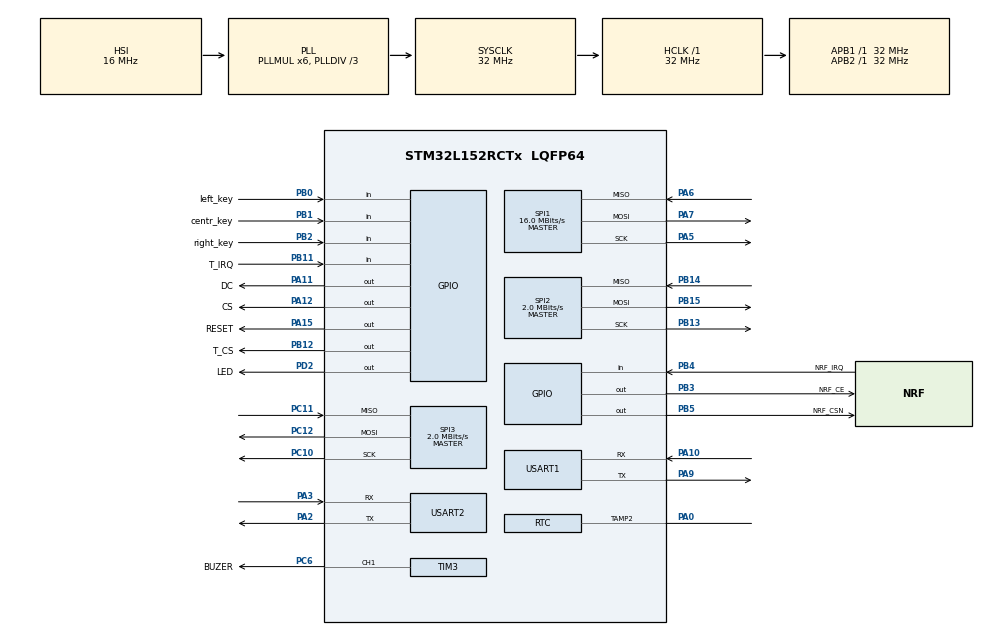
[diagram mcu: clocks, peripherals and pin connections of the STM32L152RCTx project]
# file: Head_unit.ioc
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Mcu.Family=STM32L1
Mcu.Name=STM32L152RCTx
Mcu.Package=LQFP64
NVIC.PriorityGroup=NVIC_PRIORITYGROUP_4
NVIC.TIM2_IRQn=true\:0\:0\:false\:false\:true\:true\:true\:true
PA0-WKUP1.Mode=Tamper 2 enabled - Input Enabled to TAMP2
PA0-WKUP1.Signal=RTC_TAMP2
PA10.Mode=Asynchronous
PA10.Signal=USART1_RX
PA11.GPIO_Label=DC
PA11.GPIO_Speed=GPIO_SPEED_FREQ_VERY_HIGH
PA11.Signal=GPIO_Output
PA12.GPIO_Label=CS
PA12.GPIO_Speed=GPIO_SPEED_FREQ_VERY_HIGH
PA12.Signal=GPIO_Output
PA13.Mode=Serial_Wire
PA13.Signal=SYS_JTMS-SWDIO
PA14.Mode=Serial_Wire
PA14.Signal=SYS_JTCK-SWCLK
PA15.GPIO_Label=RESET
PA15.GPIO_Speed=GPIO_SPEED_FREQ_VERY_HIGH
PA15.Signal=GPIO_Output
PA2.Mode=Asynchronous
PA2.Signal=USART2_TX
PA3.Mode=Asynchronous
PA3.Signal=USART2_RX
PA5.Mode=Full_Duplex_Master
PA5.Signal=SPI1_SCK
PA6.Mode=Full_Duplex_Master
PA6.Signal=SPI1_MISO
PA7.Mode=Full_Duplex_Master
PA7.Signal=SPI1_MOSI
PA9.Mode=Asynchronous
PA9.Signal=USART1_TX
PB0.GPIO_Label=left_key
PB0.GPIO_PuPd=GPIO_PULLUP
PB0.Signal=GPIO_Input
PB1.GPIO_Label=centr_key
PB1.GPIO_PuPd=GPIO_PULLUP
PB1.Signal=GPIO_Input
PB11.GPIO_Label=T_IRQ
PB11.Signal=GPIO_Input
PB12.GPIO_Label=T_CS
PB12.GPIO_Speed=GPIO_SPEED_FREQ_VERY_HIGH
PB12.Signal=GPIO_Output
PB13.Mode=Full_Duplex_Master
PB13.Signal=SPI2_SCK
PB14.Mode=Full_Duplex_Master
PB14.Signal=SPI2_MISO
PB15.Mode=Full_Duplex_Master
PB15.Signal=SPI2_MOSI
PB2.GPIO_Label=right_key
PB2.GPIO_PuPd=GPIO_PULLUP
PB2.Signal=GPIO_Input
PB3.GPIO_Label=NRF_CE
PB3.GPIO_Speed=GPIO_SPEED_FREQ_MEDIUM
PB3.Signal=GPIO_Output
PB4.GPIO_Label=NRF_IRQ
PB4.Signal=GPIO_Input
PB5.GPIO_Label=NRF_CSN
PB5.GPIO_Speed=GPIO_SPEED_FREQ_MEDIUM
PB5.Signal=GPIO_Output
PC10.Mode=Full_Duplex_Master
PC10.Signal=SPI3_SCK
PC11.Mode=Full_Duplex_Master
PC11.Signal=SPI3_MISO
PC12.Mode=Full_Duplex_Master
PC12.Signal=SPI3_MOSI
PC14-OSC32_IN.Mode=LSE-External-Oscillator
PC14-OSC32_IN.Signal=RCC_OSC32_IN
PC15-OSC32_OUT.Mode=LSE-External-Oscillator
PC15-OSC32_OUT.Signal=RCC_OSC32_OUT
PC6.GPIO_Label=BUZER
PC6.Signal=S_TIM3_CH1
PD2.GPIO_Label=LED
PD2.GPIO_Speed=GPIO_SPEED_FREQ_VERY_HIGH
PD2.Signal=GPIO_Output
ProjectManager.HeapSize=0x400
ProjectManager.StackSize=0x800
ProjectManager.TargetToolchain=STM32CubeIDE
RCC.48MHZClocksFreq_Value=48000000
RCC.AHBFreq_Value=32000000
RCC.APB1Freq_Value=32000000
RCC.APB1TimFreq_Value=32000000
RCC.APB2Freq_Value=32000000
RCC.APB2TimFreq_Value=32000000
RCC.HCLKFreq_Value=32000000
RCC.HSE_VALUE=24000000
RCC.HSI_VALUE=16000000
RCC.MSI_VALUE=2097000
RCC.PLLDIV=RCC_PLL_DIV3
RCC.PLLMUL=RCC_PLL_MUL6
RCC.SYSCLKFreq_VALUE=32000000
RCC.SYSCLKSource=RCC_SYSCLKSOURCE_PLLCLK
RCC.VCOOutputFreq_Value=96000000
RTC.Format=RTC_FORMAT_BIN
SH.S_TIM3_CH1.0=TIM3_CH1,PWM Generation1 CH1
SPI1.BaudRatePrescaler=SPI_BAUDRATEPRESCALER_2
SPI1.CalculateBaudRate=16.0 MBits/s
SPI1.Direction=SPI_DIRECTION_2LINES
SPI1.Mode=SPI_MODE_MASTER
SPI1.VirtualType=VM_MASTER
SPI2.BaudRatePrescaler=SPI_BAUDRATEPRESCALER_16
SPI2.CalculateBaudRate=2.0 MBits/s
SPI2.Direction=SPI_DIRECTION_2LINES
SPI2.Mode=SPI_MODE_MASTER
SPI2.VirtualType=VM_MASTER
SPI3.BaudRatePrescaler=SPI_BAUDRATEPRESCALER_16
SPI3.CalculateBaudRate=2.0 MBits/s
SPI3.Direction=SPI_DIRECTION_2LINES
SPI3.Mode=SPI_MODE_MASTER
SPI3.VirtualType=VM_MASTER
TIM2.Period=1000-1
TIM2.Prescaler=32000-1
TIM3.Channel-PWM\ Generation1\ CH1=TIM_CHANNEL_1
TIM3.Period=31999
TIM3.Prescaler=0
TIM3.Pulse-PWM\ Generation1\ CH1=16000
USART1.VirtualMode=VM_ASYNC
USART2.VirtualMode=VM_ASYNC
VP_RTC_VS_RTC_Activate.Mode=RTC_Enabled
VP_RTC_VS_RTC_Calendar.Mode=RTC_Calendar
VP_TIM2_VS_ClockSourceINT.Mode=Internal
VP_TIM3_VS_ClockSourceINT.Mode=Internal
board=custom

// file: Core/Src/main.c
/* USER CODE BEGIN Header */
/**
 ******************************************************************************
 * @file           : main.c
 * @brief          : Main program body
 ******************************************************************************
 * @attention
 *
 * Copyright (c) 2026 STMicroelectronics.
 * All rights reserved.
 *
 * This software is licensed under terms that can be found in the LICENSE file
 * in the root directory of this software component.
 * If no LICENSE file comes with this software, it is provided AS-IS.
 *
 ******************************************************************************
 */
/* USER CODE END Header */
#include "main.h"

/* USER CODE BEGIN Includes */
#include "string.h"
#include "stdio.h"
#include "ILI9341_GFX.h"
#include "fonts.h"
#include "xpt2046_touch.h"
#include "screen.h"
#include "nrf24.h"
#include "button.h"

/* USER CODE END Includes */

RTC_HandleTypeDef hrtc;

SPI_HandleTypeDef hspi1;
SPI_HandleTypeDef hspi2;
SPI_HandleTypeDef hspi3;

TIM_HandleTypeDef htim2;
TIM_HandleTypeDef htim3;

UART_HandleTypeDef huart1;
UART_HandleTypeDef huart2;

/* USER CODE BEGIN PV */
char str1[64] =
{ 0 };
volatile int g_timer_seconds = 0;				//Начальное значение таймера
uint8_t g_timer_settings_erudit = 10;			//Erudit timer from settings
volatile uint8_t reset_timer = 0;				//старт/стоп таймера
uint8_t timer_running = 0;   					//0 = стоп, 1 = работает
uint8_t btn_prev = 1;        					//предыдущее состояние кнопки
uint8_t question_id = 1;						//the current question index, for Erudit Quartet can be up to 5
char lcd_buf[16];								//буфер значения таймера
uint16_t teams = 2;								//номер команды
uint16_t teams_answer_state[8] =
{ 0 };											// Teams answer state
uint16_t teams_fs_state[8] =
{ 0 };											// Teams false start state
uint16_t pressed_btn_team = 0;					//номер нажатой кнопки команды
int16_t scores[8] = { 0 };						//количество очков команд [0-7]
uint16_t answer = 1;							//положительный или отрицательный ответ
uint8_t rx_data;								//номер нажатой кнопки передатчика
uint16_t falstart_enabled = 0;
uint8_t flag_press = 1;
uint32_t time_press = 0;
char buf[64] = { 0, };
uint16_t x = 0;
uint16_t y = 0;
enum {
	NONE = 0, SHORT = 1, LONG = 2
};

static volatile uint8_t  beep_active = 0;
static volatile uint32_t beep_start_tick = 0;
static volatile uint16_t beep_duration = 0;

game_screen screen = MAIN_MENU;
uint16_t edit_score = 0;						//Признак редактирования счёта...
/* USER CODE END PV */

void SystemClock_Config(void);
static void MX_GPIO_Init(void);
static void MX_RTC_Init(void);
static void MX_SPI1_Init(void);
static void MX_SPI2_Init(void);
static void MX_SPI3_Init(void);
static void MX_USART1_UART_Init(void);
static void MX_USART2_UART_Init(void);
static void MX_TIM2_Init(void);
static void MX_TIM3_Init(void);
/* USER CODE BEGIN PFP */

void Main_loop_header(void);
void Main_loop_footer(void);
// void Reset_state(void);
void Left_button_handler(void);
void Center_button_short_handler(void);
void Center_button_long_handler(void);
void Right_button_handler(void);

/* USER CODE END PFP */

/* USER CODE BEGIN 0 */

void Set_PWM_Frequency(uint32_t frequency) {
	uint32_t arr;
	arr = (32000000 / frequency) - 1;
	__HAL_TIM_SET_AUTORELOAD(&htim3, arr);
	__HAL_TIM_SET_COMPARE(&htim3, TIM_CHANNEL_1, (arr + 1) / 2);
}

static void beep_update(void) {
	if (beep_active && (HAL_GetTick() - beep_start_tick) >= beep_duration) {
		HAL_TIM_PWM_Stop(&htim3, TIM_CHANNEL_1);
		beep_active = 0;
	}
}

void beep(uint32_t frequency, uint16_t duration_ms) {
	if (beep_active) {
		HAL_TIM_PWM_Stop(&htim3, TIM_CHANNEL_1);
		beep_active = 0;
	}
	Set_PWM_Frequency(frequency);
	HAL_TIM_PWM_Start(&htim3, TIM_CHANNEL_1);
	beep_start_tick = HAL_GetTick();
	beep_duration = duration_ms;
	beep_active = 1;
}

/* USER CODE END 0 */

int main(void)
{

  /* USER CODE BEGIN 1 */
	edit_score = 0;

  /* USER CODE END 1 */

  /* MCU Configuration--------------------------------------------------------*/

  /* Reset of all peripherals, Initializes the Flash interface and the Systick. */
  HAL_Init();

  /* Configure the system clock */
  SystemClock_Config();

  /* Initialize all configured peripherals */
  MX_GPIO_Init();
  MX_RTC_Init();
  MX_SPI1_Init();
  MX_SPI2_Init();
  MX_SPI3_Init();
  MX_USART1_UART_Init();
  MX_USART2_UART_Init();
  MX_TIM2_Init();
  MX_TIM3_Init();
  //HAL_TIM_PWM_Start(&htim3, TIM_CHANNEL_1);
  /* USER CODE BEGIN 2 */
	__HAL_SPI_ENABLE(DISP_SPI_PTR);
	HAL_TIM_Base_Start_IT(&htim2);							//старт таймера обратного отсчёта
	HAL_TIM_Base_Start(&htim3);									//Таймер для микросекундных задержек
	ILI9341_Init();															//инициализация дисплея
	NRF24_ini();																//инициализация NRF24
	ILI9341_Set_Rotation(SCREEN_HORIZONTAL_2);	//установка ориентации экрана (варианты в файле ILI9341_GFX.h)
	screen_menu();															//старт глвного экрана
  /* USER CODE END 2 */

  /* Infinite loop */
	while (1)
	{

    /* USER CODE BEGIN 3 */

		Main_loop_header();
		NRF_Event_handler(); 										//Обработчик сигналов с кнопок передатчиков
		Touchscreen_handler();										//Обработчик тачскрина
		Main_loop_footer();											//Обработчик
		beep_update();												//check the current beep state

		//>>>>>>>>>>Обработчик нажатия кнопок. Для каждого экрана своя логика
		if (edit_score != 0)										//Если 0 тогда обрабатываем кнопки если иначе - пропускаем все кнопки
		{
			score_editing_handler();									//редактирование результата
		}
		else
		{
			if (Button_Read_left())
			{
				Left_button_handler();
			}

			uint8_t center_press = Button_Read_center();

			if (center_press == SHORT)
			{
				Center_button_short_handler();
			}

			if (center_press == LONG)
			{
				Center_button_long_handler();
			}

			if (Button_Read_right())
			{
				Right_button_handler();
			}
		}

	}
  /* USER CODE END 3 */
}

void SystemClock_Config(void)
{
  RCC_OscInitTypeDef RCC_OscInitStruct = {0};
  RCC_ClkInitTypeDef RCC_ClkInitStruct = {0};
  RCC_PeriphCLKInitTypeDef PeriphClkInit = {0};

  /** Configure the main internal regulator output voltage
  */
  __HAL_PWR_VOLTAGESCALING_CONFIG(PWR_REGULATOR_VOLTAGE_SCALE1);

  /** Initializes the RCC Oscillators according to the specified parameters
  * in the RCC_OscInitTypeDef structure.
  */
  RCC_OscInitStruct.OscillatorType = RCC_OSCILLATORTYPE_HSI|RCC_OSCILLATORTYPE_LSI;
  RCC_OscInitStruct.HSIState = RCC_HSI_ON;
  RCC_OscInitStruct.HSICalibrationValue = RCC_HSICALIBRATION_DEFAULT;
  RCC_OscInitStruct.LSIState = RCC_LSI_ON;
  RCC_OscInitStruct.PLL.PLLState = RCC_PLL_ON;
  RCC_OscInitStruct.PLL.PLLSource = RCC_PLLSOURCE_HSI;
  RCC_OscInitStruct.PLL.PLLMUL = RCC_PLL_MUL6;
  RCC_OscInitStruct.PLL.PLLDIV = RCC_PLL_DIV3;
  if (HAL_RCC_OscConfig(&RCC_OscInitStruct) != HAL_OK)
  {
    Error_Handler();
  }

  /** Initializes the CPU, AHB and APB buses clocks
  */
  RCC_ClkInitStruct.ClockType = RCC_CLOCKTYPE_HCLK|RCC_CLOCKTYPE_SYSCLK
                              |RCC_CLOCKTYPE_PCLK1|RCC_CLOCKTYPE_PCLK2;
  RCC_ClkInitStruct.SYSCLKSource = RCC_SYSCLKSOURCE_PLLCLK;
  RCC_ClkInitStruct.AHBCLKDivider = RCC_SYSCLK_DIV1;
  RCC_ClkInitStruct.APB1CLKDivider = RCC_HCLK_DIV1;
  RCC_ClkInitStruct.APB2CLKDivider = RCC_HCLK_DIV1;

  if (HAL_RCC_ClockConfig(&RCC_ClkInitStruct, FLASH_LATENCY_1) != HAL_OK)
  {
    Error_Handler();
  }
  PeriphClkInit.PeriphClockSelection = RCC_PERIPHCLK_RTC;
  PeriphClkInit.RTCClockSelection = RCC_RTCCLKSOURCE_LSI;
  if (HAL_RCCEx_PeriphCLKConfig(&PeriphClkInit) != HAL_OK)
  {
    Error_Handler();
  }
}

static void MX_RTC_Init(void)
{

  RTC_TimeTypeDef sTime = {0};
  RTC_DateTypeDef sDate = {0};
  RTC_TamperTypeDef sTamper = {0};

  /** Initialize RTC Only
  */
  hrtc.Instance = RTC;
  hrtc.Init.HourFormat = RTC_HOURFORMAT_24;
  hrtc.Init.AsynchPrediv = 127;
  hrtc.Init.SynchPrediv = 255;
  hrtc.Init.OutPut = RTC_OUTPUT_DISABLE;
  hrtc.Init.OutPutPolarity = RTC_OUTPUT_POLARITY_HIGH;
  hrtc.Init.OutPutType = RTC_OUTPUT_TYPE_OPENDRAIN;
  if (HAL_RTC_Init(&hrtc) != HAL_OK)
  {
    Error_Handler();
  }

  /** Initialize RTC and set the Time and Date
  */
  sTime.Hours = 0;
  sTime.Minutes = 0;
  sTime.Seconds = 0;
  sTime.DayLightSaving = RTC_DAYLIGHTSAVING_NONE;
  sTime.StoreOperation = RTC_STOREOPERATION_RESET;
  if (HAL_RTC_SetTime(&hrtc, &sTime, RTC_FORMAT_BIN) != HAL_OK)
  {
    Error_Handler();
  }
  sDate.WeekDay = RTC_WEEKDAY_MONDAY;
  sDate.Month = RTC_MONTH_JANUARY;
  sDate.Date = 1;
  sDate.Year = 0;

  if (HAL_RTC_SetDate(&hrtc, &sDate, RTC_FORMAT_BIN) != HAL_OK)
  {
    Error_Handler();
  }

  /** Enable the RTC Tamper 2
  */
  sTamper.Tamper = RTC_TAMPER_2;
  sTamper.Trigger = RTC_TAMPERTRIGGER_RISINGEDGE;
  sTamper.Filter = RTC_TAMPERFILTER_DISABLE;
  sTamper.SamplingFrequency = RTC_TAMPERSAMPLINGFREQ_RTCCLK_DIV32768;
  sTamper.PrechargeDuration = RTC_TAMPERPRECHARGEDURATION_1RTCCLK;
  sTamper.TamperPullUp = RTC_TAMPER_PULLUP_ENABLE;
  sTamper.TimeStampOnTamperDetection = RTC_TIMESTAMPONTAMPERDETECTION_ENABLE;
  if (HAL_RTCEx_SetTamper(&hrtc, &sTamper) != HAL_OK)
  {
    Error_Handler();
  }

}

static void MX_SPI1_Init(void)
{

  /* SPI1 parameter configuration*/
  hspi1.Instance = SPI1;
  hspi1.Init.Mode = SPI_MODE_MASTER;
  hspi1.Init.Direction = SPI_DIRECTION_2LINES;
  hspi1.Init.DataSize = SPI_DATASIZE_8BIT;
  hspi1.Init.CLKPolarity = SPI_POLARITY_LOW;
  hspi1.Init.CLKPhase = SPI_PHASE_1EDGE;
  hspi1.Init.NSS = SPI_NSS_SOFT;
  hspi1.Init.BaudRatePrescaler = SPI_BAUDRATEPRESCALER_2;
  hspi1.Init.FirstBit = SPI_FIRSTBIT_MSB;
  hspi1.Init.TIMode = SPI_TIMODE_DISABLE;
  hspi1.Init.CRCCalculation = SPI_CRCCALCULATION_DISABLE;
  hspi1.Init.CRCPolynomial = 10;
  if (HAL_SPI_Init(&hspi1) != HAL_OK)
  {
    Error_Handler();
  }

}

static void MX_SPI2_Init(void)
{

  /* SPI2 parameter configuration*/
  hspi2.Instance = SPI2;
  hspi2.Init.Mode = SPI_MODE_MASTER;
  hspi2.Init.Direction = SPI_DIRECTION_2LINES;
  hspi2.Init.DataSize = SPI_DATASIZE_8BIT;
  hspi2.Init.CLKPolarity = SPI_POLARITY_LOW;
  hspi2.Init.CLKPhase = SPI_PHASE_1EDGE;
  hspi2.Init.NSS = SPI_NSS_SOFT;
  hspi2.Init.BaudRatePrescaler = SPI_BAUDRATEPRESCALER_16;
  hspi2.Init.FirstBit = SPI_FIRSTBIT_MSB;
  hspi2.Init.TIMode = SPI_TIMODE_DISABLE;
  hspi2.Init.CRCCalculation = SPI_CRCCALCULATION_DISABLE;
  hspi2.Init.CRCPolynomial = 10;
  if (HAL_SPI_Init(&hspi2) != HAL_OK) {
	  Error_Handler();
  }

}

static void MX_SPI3_Init(void)
{

  /* SPI3 parameter configuration*/
  hspi3.Instance = SPI3;
  hspi3.Init.Mode = SPI_MODE_MASTER;
  hspi3.Init.Direction = SPI_DIRECTION_2LINES;
  hspi3.Init.DataSize = SPI_DATASIZE_8BIT;
  hspi3.Init.CLKPolarity = SPI_POLARITY_LOW;
  hspi3.Init.CLKPhase = SPI_PHASE_1EDGE;
  hspi3.Init.NSS = SPI_NSS_SOFT;
  hspi3.Init.BaudRatePrescaler = SPI_BAUDRATEPRESCALER_16;
  hspi3.Init.FirstBit = SPI_FIRSTBIT_MSB;
  hspi3.Init.TIMode = SPI_TIMODE_DISABLE;
  hspi3.Init.CRCCalculation = SPI_CRCCALCULATION_DISABLE;
  hspi3.Init.CRCPolynomial = 10;
  if (HAL_SPI_Init(&hspi3) != HAL_OK)
  {
    Error_Handler();
  }

}

static void MX_TIM2_Init(void)
{

  TIM_ClockConfigTypeDef sClockSourceConfig = {0};
  TIM_MasterConfigTypeDef sMasterConfig = {0};

  htim2.Instance = TIM2;
  htim2.Init.Prescaler = 32000-1;
  htim2.Init.CounterMode = TIM_COUNTERMODE_UP;
  htim2.Init.Period = 1000-1;
  htim2.Init.ClockDivision = TIM_CLOCKDIVISION_DIV1;
  htim2.Init.AutoReloadPreload = TIM_AUTORELOAD_PRELOAD_DISABLE;
  if (HAL_TIM_Base_Init(&htim2) != HAL_OK)
  {
    Error_Handler();
  }
  sClockSourceConfig.ClockSource = TIM_CLOCKSOURCE_INTERNAL;
  if (HAL_TIM_ConfigClockSource(&htim2, &sClockSourceConfig) != HAL_OK)
  {
    Error_Handler();
  }
  sMasterConfig.MasterOutputTrigger = TIM_TRGO_RESET;
  sMasterConfig.MasterSlaveMode = TIM_MASTERSLAVEMODE_DISABLE;
  if (HAL_TIMEx_MasterConfigSynchronization(&htim2, &sMasterConfig) != HAL_OK)
  {
    Error_Handler();
  }

}

static void MX_TIM3_Init(void)
{

  TIM_ClockConfigTypeDef sClockSourceConfig = {0};
  TIM_MasterConfigTypeDef sMasterConfig = {0};
  TIM_OC_InitTypeDef sConfigOC = {0};

  htim3.Instance = TIM3;
  htim3.Init.Prescaler = 0;
  htim3.Init.CounterMode = TIM_COUNTERMODE_UP;
  htim3.Init.Period = 31999;
  htim3.Init.ClockDivision = TIM_CLOCKDIVISION_DIV1;
  htim3.Init.AutoReloadPreload = TIM_AUTORELOAD_PRELOAD_DISABLE;
  if (HAL_TIM_Base_Init(&htim3) != HAL_OK)
  {
    Error_Handler();
  }
  sClockSourceConfig.ClockSource = TIM_CLOCKSOURCE_INTERNAL;
  if (HAL_TIM_ConfigClockSource(&htim3, &sClockSourceConfig) != HAL_OK)
  {
    Error_Handler();
  }
  if (HAL_TIM_PWM_Init(&htim3) != HAL_OK)
  {
    Error_Handler();
  }
  sMasterConfig.MasterOutputTrigger = TIM_TRGO_RESET;
  sMasterConfig.MasterSlaveMode = TIM_MASTERSLAVEMODE_DISABLE;
  if (HAL_TIMEx_MasterConfigSynchronization(&htim3, &sMasterConfig) != HAL_OK)
  {
    Error_Handler();
  }
  sConfigOC.OCMode = TIM_OCMODE_PWM1;
  sConfigOC.Pulse = 16000;
  sConfigOC.OCPolarity = TIM_OCPOLARITY_HIGH;
  sConfigOC.OCFastMode = TIM_OCFAST_DISABLE;
  if (HAL_TIM_PWM_ConfigChannel(&htim3, &sConfigOC, TIM_CHANNEL_1) != HAL_OK)
  {
    Error_Handler();
  }
  HAL_TIM_MspPostInit(&htim3);

}

static void MX_USART1_UART_Init(void)
{

  huart1.Instance = USART1;
  huart1.Init.BaudRate = 115200;
  huart1.Init.WordLength = UART_WORDLENGTH_8B;
  huart1.Init.StopBits = UART_STOPBITS_1;
  huart1.Init.Parity = UART_PARITY_NONE;
  huart1.Init.Mode = UART_MODE_TX_RX;
  huart1.Init.HwFlowCtl = UART_HWCONTROL_NONE;
  huart1.Init.OverSampling = UART_OVERSAMPLING_16;
  if (HAL_UART_Init(&huart1) != HAL_OK)
  {
    Error_Handler();
  }

}

static void MX_USART2_UART_Init(void)
{

  huart2.Instance = USART2;
  huart2.Init.BaudRate = 115200;
  huart2.Init.WordLength = UART_WORDLENGTH_8B;
  huart2.Init.StopBits = UART_STOPBITS_1;
  huart2.Init.Parity = UART_PARITY_NONE;
  huart2.Init.Mode = UART_MODE_TX_RX;
  huart2.Init.HwFlowCtl = UART_HWCONTROL_NONE;
  huart2.Init.OverSampling = UART_OVERSAMPLING_16;
  if (HAL_UART_Init(&huart2) != HAL_OK)
  {
    Error_Handler();
  }

}

static void MX_GPIO_Init(void)
{
  GPIO_InitTypeDef GPIO_InitStruct = {0};

  /* GPIO Ports Clock Enable */
  __HAL_RCC_GPIOC_CLK_ENABLE();
  __HAL_RCC_GPIOA_CLK_ENABLE();
  __HAL_RCC_GPIOB_CLK_ENABLE();
  __HAL_RCC_GPIOD_CLK_ENABLE();

  /*Configure GPIO pin Output Level */
  HAL_GPIO_WritePin(GPIOB, T_CS_Pin|NRF_CE_Pin|NRF_CSN_Pin, GPIO_PIN_RESET);

  /*Configure GPIO pin Output Level */
  HAL_GPIO_WritePin(GPIOA, DC_Pin|CS_Pin|RESET_Pin, GPIO_PIN_RESET);

  /*Configure GPIO pin Output Level */
  HAL_GPIO_WritePin(LED_GPIO_Port, LED_Pin, GPIO_PIN_RESET);

  /*Configure GPIO pins : left_key_Pin centr_key_Pin right_key_Pin */
  GPIO_InitStruct.Pin = left_key_Pin|centr_key_Pin|right_key_Pin;
  GPIO_InitStruct.Mode = GPIO_MODE_INPUT;
  GPIO_InitStruct.Pull = GPIO_PULLUP;
  HAL_GPIO_Init(GPIOB, &GPIO_InitStruct);

  /*Configure GPIO pins : T_IRQ_Pin NRF_IRQ_Pin */
  GPIO_InitStruct.Pin = T_IRQ_Pin|NRF_IRQ_Pin;
  GPIO_InitStruct.Mode = GPIO_MODE_INPUT;
  GPIO_InitStruct.Pull = GPIO_NOPULL;
  HAL_GPIO_Init(GPIOB, &GPIO_InitStruct);

  /*Configure GPIO pin : T_CS_Pin */
  GPIO_InitStruct.Pin = T_CS_Pin;
  GPIO_InitStruct.Mode = GPIO_MODE_OUTPUT_PP;
  GPIO_InitStruct.Pull = GPIO_NOPULL;
  GPIO_InitStruct.Speed = GPIO_SPEED_FREQ_VERY_HIGH;
  HAL_GPIO_Init(T_CS_GPIO_Port, &GPIO_InitStruct);

  /*Configure GPIO pins : DC_Pin CS_Pin RESET_Pin */
  GPIO_InitStruct.Pin = DC_Pin|CS_Pin|RESET_Pin;
  GPIO_InitStruct.Mode = GPIO_MODE_OUTPUT_PP;
  GPIO_InitStruct.Pull = GPIO_NOPULL;
  GPIO_InitStruct.Speed = GPIO_SPEED_FREQ_VERY_HIGH;
  HAL_GPIO_Init(GPIOA, &GPIO_InitStruct);

  /*Configure GPIO pin : LED_Pin */
  GPIO_InitStruct.Pin = LED_Pin;
  GPIO_InitStruct.Mode = GPIO_MODE_OUTPUT_PP;
  GPIO_InitStruct.Pull = GPIO_NOPULL;
  GPIO_InitStruct.Speed = GPIO_SPEED_FREQ_VERY_HIGH;
  HAL_GPIO_Init(LED_GPIO_Port, &GPIO_InitStruct);

  /*Configure GPIO pins : NRF_CE_Pin NRF_CSN_Pin */
  GPIO_InitStruct.Pin = NRF_CE_Pin|NRF_CSN_Pin;
  GPIO_InitStruct.Mode = GPIO_MODE_OUTPUT_PP;
  GPIO_InitStruct.Pull = GPIO_NOPULL;
  GPIO_InitStruct.Speed = GPIO_SPEED_FREQ_MEDIUM;
  HAL_GPIO_Init(GPIOB, &GPIO_InitStruct);

}

/* USER CODE BEGIN 4 */

void Main_loop_header(void) {
	switch (screen) {
	case BRAIN_RING:
		if ( 0 == g_timer_seconds) {
			beep(500, 1000);
			LED_ON;
			HAL_TIM_Base_Stop_IT(&htim2);																		//Останавливаем таймер
			Reset_state(1, screen);
		}
		break;

	case ERUDIT:
		if ( 0 == g_timer_seconds) {
			beep(500, 1000);
			LED_ON;
			HAL_TIM_Base_Stop_IT(&htim2);																		//Останавливаем таймер
			Reset_state(1, screen);
			question_id++;
			if(question_id > 5) {
				question_id = 1;
			}
		}
		break;

	default:
		break;
	}
}

void Main_loop_footer(void) {
	switch (screen) {
	case BRAIN_RING:
		if (reset_timer) {
			reset_timer = 0;
			sprintf(lcd_buf, "%02d ", g_timer_seconds);
			ILI9341_WriteString(230, 25, lcd_buf, Font_16x26, RED, MYFON); // вывод показаний таймера
			switch(g_timer_seconds) {
				case 10: { // check if 10 seconds left and notify it via sound
					beep(3000, 700);
					break;
				}

				default: {
					break;
				}
			}
		}
		break;

	case ERUDIT:
		if (reset_timer) {
			reset_timer = 0;
			sprintf(lcd_buf, "%02d ", g_timer_seconds);
			ILI9341_WriteString(230, 25, lcd_buf, Font_16x26, RED, MYFON); // show the current timer value
		}

		// display the current question id
		sprintf(lcd_buf, "%02d ", question_id * 10);
		ILI9341_WriteString(230, 75, lcd_buf, Font_16x26, GREEN, MYFON); // show the current question value

		sprintf(lcd_buf, "%02d ", question_id);
		ILI9341_WriteString(230, 120, lcd_buf, Font_16x26, WHITE, MYFON); // show the current question number
		break;

	default:
		break;
	}
}

void Reset_state(uint8_t redraw, uint8_t screen) {

	// check here what type of the game is selected, set the max timer value based on it
	timer_running = 0;

	switch (screen) {
	case BRAIN_RING:
		g_timer_seconds = 60;
		ILI9341_Draw_Filled_Rectangle_Coord(130, 220, 190, 240, WHITE);
		ILI9341_WriteString(142, 225, "Start", Font_7x10, BLUE, WHITE);
		break;

	case ERUDIT:
		g_timer_seconds = g_timer_settings_erudit;
		ILI9341_Draw_Filled_Rectangle_Coord(130, 220, 190, 240, WHITE);
		ILI9341_WriteString(142, 225, "Start", Font_7x10, BLUE, WHITE);
		break;

	default:
		break;
	}

	reset_timer = 1;
	answer = 1;
	if (redraw) {
		reset_color();
		Reset_falstart_screen();
	}
	Reset_answer_state();
	Reset_falstart_state();
	pressed_btn_team = 0;
	edit_score = 0;
}

void Left_button_handler(void)
{
	switch (screen)
	{
	case BRAIN_RING:
		if (!timer_running || !pressed_btn_team)
		{
			return;
		}

		if (answer)
		{
			g_timer_seconds = 20;
			reset_timer = 1;
		}

		timer_running = 0;
		answer = 0;
		button_event_handler();							//Если ответ не верный-команда выбывает (цвет надписи команды чёрный)
		pressed_btn_team = 0;
		break;
	case SIMPLE:
		if (!pressed_btn_team)
		{
			return;
		}

		answer = 0;
		button_event_handler();
		pressed_btn_team = 0;
		break;
	case ERUDIT:
		if (!pressed_btn_team) {
			return;
		}

		answer = 0;
		beep(800, 800);
		g_timer_seconds = g_timer_settings_erudit;
		reset_timer = 1;
		timer_running = 1;
		button_event_handler();
		pressed_btn_team = 0;
		break;
	default:
		return;
	}
}

void Center_button_short_handler(void) {
	switch (screen) {
		case BRAIN_RING:
			if (pressed_btn_team) {	// already one team responded
				return;
			}

			if(!timer_running) {
				timer_running = 1;
				NRF24_FlushRX();
				HAL_TIM_Base_Start_IT(&htim2);
				ILI9341_Draw_Filled_Rectangle_Coord(130, 220, 190, 240, WHITE);
				ILI9341_WriteString(142, 225, "Stop", Font_7x10, BLUE, WHITE);
			} else {
				ILI9341_Draw_Filled_Rectangle_Coord(130, 220, 190, 240, WHITE);
				ILI9341_WriteString(142, 225, "Start", Font_7x10, BLUE, WHITE);
				timer_running = 0;
				HAL_TIM_Base_Stop_IT(&htim2);
			}

			// also check here if the timer value is equal to 10 then beep
			if(g_timer_seconds == 60) {
				beep(800, 800);
				LED_OFF;
			}
			break;
		case SIMPLE:
			break;

		case ERUDIT:
			// check if there is no other team answered
			if (pressed_btn_team) {	// already one team responded
				return;
			}

			if(!timer_running) {
				timer_running = 1;
				NRF24_FlushRX();
				ILI9341_Draw_Filled_Rectangle_Coord(130, 220, 190, 240, WHITE);
				ILI9341_WriteString(142, 225, "Stop", Font_7x10, BLUE, WHITE);
				HAL_TIM_Base_Start_IT(&htim2);
			} else {
				timer_running = 0;
				NRF24_FlushRX();
				ILI9341_Draw_Filled_Rectangle_Coord(130, 220, 190, 240, WHITE);
				ILI9341_WriteString(142, 225, "Start", Font_7x10, BLUE, WHITE);
				HAL_TIM_Base_Stop_IT(&htim2);
			}

			// also check here if the timer value is equal to 10 then beep
			if(g_timer_seconds == g_timer_settings_erudit) {
				beep(800, 800);
				LED_OFF;
			}
			break;
		default:
			return;
	}
}

void Center_button_long_handler(void)
{
	switch (screen)
	{
	case BRAIN_RING:
		NRF24_FlushRX();
		LED_OFF;
		HAL_TIM_Base_Stop_IT(&htim2);
		Reset_state(1, screen);
		break;
	case SIMPLE:
		NRF24_FlushRX();
		LED_OFF;
		Reset_state(1, screen);
		break;
	case ERUDIT:
		NRF24_FlushRX();
		LED_OFF;
		HAL_TIM_Base_Stop_IT(&htim2);
		Reset_state(1, screen);
		break;
	default:
		return;
	}
}

void Right_button_handler(void)
{
	switch (screen)
	{
	case BRAIN_RING:
		if (!timer_running || !pressed_btn_team)
		{
			return;
		}

		answer = 1;																//Положительный или отрицательный ответ
		button_event_handler();							//Если ответ не верный-команда выбывает (цвет надписи команды чёрный)
		Reset_state(1, screen);
		break;
	case SIMPLE:
		if (!pressed_btn_team){
			return;
		}

		answer = 1;
		button_event_handler();
		Reset_state(1, screen);
		break;
	case ERUDIT:
		if (!pressed_btn_team){
			return;
		}

		answer = 1;
		button_event_handler();
		Reset_state(1, screen);
		break;
	default:
		return;
	}
}

void HAL_TIM_PeriodElapsedCallback(TIM_HandleTypeDef *htim)
{
	if (htim->Instance == TIM2)
	{
		if (timer_running)
		{
			if (g_timer_seconds > 0)
			{
				g_timer_seconds--;
			}
		}
		reset_timer = 1;
	}
}
/* USER CODE END 4 */

void Error_Handler(void)
{
	__disable_irq();
	while (1)
	{
	}
}
